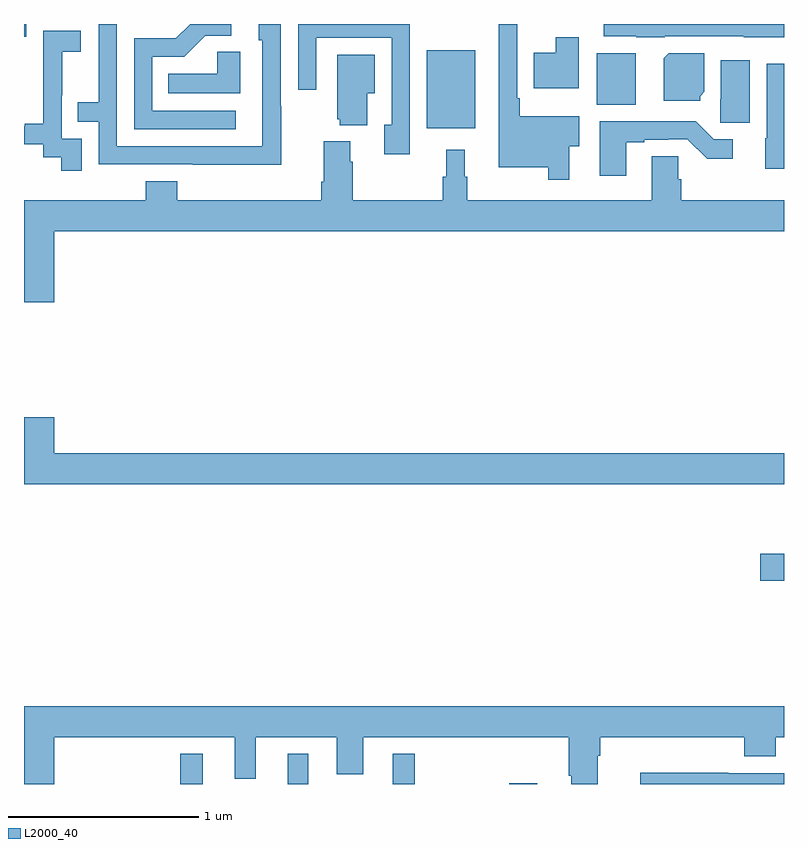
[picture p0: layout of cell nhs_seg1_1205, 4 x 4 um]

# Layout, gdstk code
import gdstk
lib = gdstk.Library(unit=1e-6, precision=1e-09)
def R(c, l, rs):  # rectangles x0, y0, x1, y1
    for r in rs: c.add(gdstk.rectangle(r[:2], r[2:], *l))
def P(c, l, *ps):  # polygons
    for p in ps: c.add(gdstk.Polygon(p, *l))
L2000_40 = (2000, 40)

nhs_seg1_1205 = lib.new_cell('nhs_seg1_1205')
R(nhs_seg1_1205, L2000_40, [(177.822,506.199,177.94,506.359), (178.388,506.199,178.495,506.359), (178.94,506.199,179.057,506.359), (179.553,506.199,179.701,506.203), (180.876,507.269,181,507.411), (179.12,509.651,179.374,510.061), (180.014,509.774,180.22,510.044), (177,510.132,177.012,510.199)])
P(nhs_seg1_1205, L2000_40, [(179.869,509.555),(179.923,509.555),(179.923,509.713),(179.608,509.713),(179.608,509.809),(179.595,509.809),(179.595,510.199),(179.499,510.199),(179.499,509.444),(179.76,509.444),(179.76,509.379),(179.869,509.379)],
  [(180.372,510.135),(180.789,510.135),(180.789,510.128),(181,510.128),(181,510.199),(180.05,510.199),(180.05,510.134),(180.222,510.134),(180.222,510.128),(180.372,510.128)],
  [(178.114,509.742),(177.675,509.742),(177.675,510.027),(177.844,510.027),(177.955,510.138),(178.09,510.138),(178.09,510.199),(177.874,510.199),(177.798,510.123),(177.579,510.123),(177.579,509.646),(178.114,509.646)],
  [(178.353,509.765),(178.35,509.765),(178.35,510.199),(178.235,510.199),(178.235,510.114),(178.254,510.114),(178.254,509.556),(177.489,509.556),(177.489,510.199),(177.393,510.199),(177.393,509.786),(177.283,509.786),(177.283,509.685),(177.393,509.685),(177.393,509.46),(177.889,509.46),(177.889,509.459),(178.353,509.459)],
  [(179.031,510.199),(178.443,510.199),(178.443,509.853),(178.539,509.853),(178.539,510.126),(178.935,510.126),(178.935,509.67),(178.895,509.67),(178.895,509.514),(179.031,509.514)],
  [(177.303,509.595),(177.198,509.595),(177.198,509.825),(177.2,509.825),(177.2,510.053),(177.298,510.053),(177.298,510.163),(177.1,510.163),(177.1,509.957),(177.101,509.957),(177.101,509.674),(177.005,509.674),(177.005,509.661),(177,509.661),(177,509.565),(177.102,509.565),(177.102,509.497),(177.195,509.497),(177.195,509.427),(177.303,509.427)],
  [(179.92,510.13),(179.798,510.13),(179.798,510.049),(179.684,510.049),(179.684,509.861),(179.92,509.861)],
  [(178.138,510.053),(178.017,510.053),(178.017,509.938),(177.76,509.938),(177.76,509.834),(178.138,509.834)],
  [(180.558,509.82),(180.58,509.842),(180.58,510.046),(180.394,510.046),(180.368,510.02),(180.368,509.795),(180.558,509.795)],
  [(178.807,509.834),(178.846,509.834),(178.846,510.037),(178.649,510.037),(178.649,509.697),(178.661,509.697),(178.661,509.666),(178.807,509.666)],
  [(180.82,510.007),(180.668,510.007),(180.668,509.802),(180.664,509.802),(180.664,509.679),(180.82,509.679)],
  [(181,509.989),(180.908,509.989),(180.908,509.598),(180.902,509.598),(180.902,509.436),(181,509.436)],
  [(180.169,509.577),(180.265,509.577),(180.265,509.589),(180.392,509.589),(180.392,509.592),(180.492,509.592),(180.595,509.49),(180.73,509.49),(180.73,509.592),(180.63,509.592),(180.536,509.686),(180.029,509.686),(180.029,509.4),(180.169,509.4)],
  [(177.16,509.108),(181,509.108),(181,509.272),(180.458,509.272),(180.458,509.382),(180.444,509.382),(180.444,509.504),(180.305,509.504),(180.305,509.272),(179.332,509.272),(179.332,509.396),(179.32,509.396),(179.32,509.536),(179.222,509.536),(179.222,509.396),(179.203,509.396),(179.203,509.272),(178.73,509.272),(178.73,509.474),(178.717,509.474),(178.717,509.581),(178.577,509.581),(178.577,509.368),(178.565,509.368),(178.565,509.272),(177.806,509.272),(177.806,509.371),(177.641,509.371),(177.641,509.272),(177,509.272),(177,508.734),(177.16,508.734)],
  [(181,507.94),(177.16,507.94),(177.16,508.129),(177,508.129),(177,507.776),(181,507.776)],
  [(177.16,506.444),(178.109,506.444),(178.109,506.226),(178.219,506.226),(178.219,506.444),(178.646,506.444),(178.646,506.25),(178.786,506.25),(178.786,506.444),(179.867,506.444),(179.867,506.242),(179.879,506.242),(179.879,506.199),(180.019,506.199),(180.019,506.348),(180.032,506.348),(180.032,506.444),(180.791,506.444),(180.791,506.345),(180.956,506.345),(180.956,506.444),(181,506.444),(181,506.608),(177,506.608),(177,506.199),(177.16,506.199)],
  [(181,506.256),(180.707,506.256),(180.707,506.258),(180.244,506.258),(180.244,506.199),(181,506.199)])

lib.write_gds('nhs_seg1_1205.gds')
